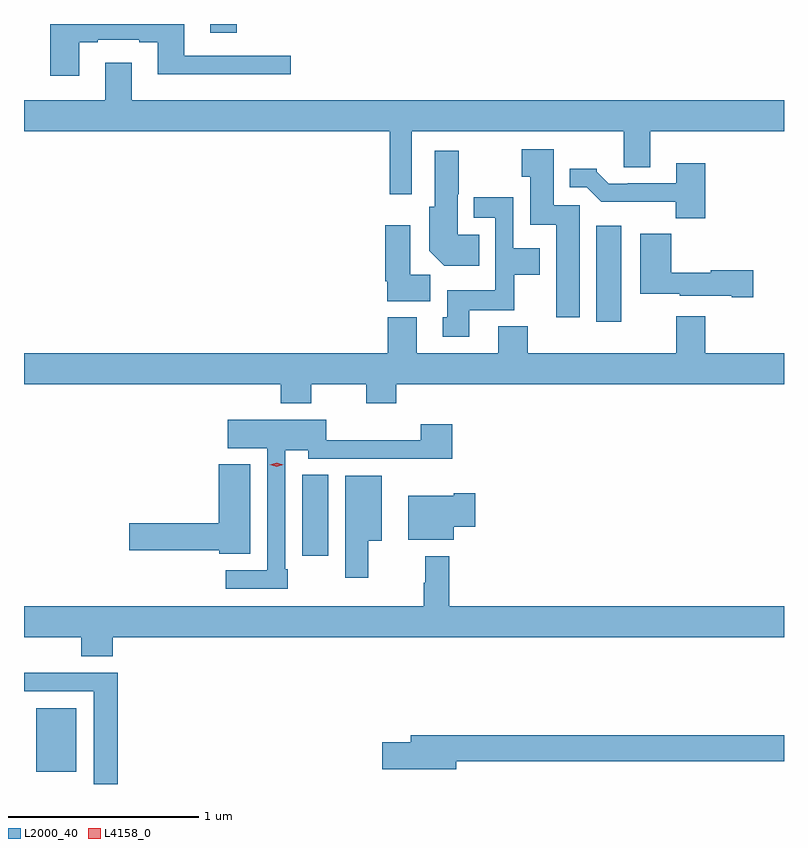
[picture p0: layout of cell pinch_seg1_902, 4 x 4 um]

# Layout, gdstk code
import gdstk
lib = gdstk.Library(unit=1e-6, precision=1e-09)
def R(c, l, rs):  # rectangles x0, y0, x1, y1
    for r in rs: c.add(gdstk.rectangle(r[:2], r[2:], *l))
def P(c, l, *ps):  # polygons
    for p in ps: c.add(gdstk.Polygon(p, *l))
L2000_40 = (2000, 40)
L4158_0 = (4158, 0)

pinch_seg1_902 = lib.new_cell('pinch_seg1_902')
R(pinch_seg1_902, L2000_40, [(268.076,545.696,268.288,546.031), (269.477,546.834,269.614,547.259), (271.025,548.064,271.156,548.569), (268.991,549.585,269.131,549.632)])
P(pinch_seg1_902, L2000_40, [(268.303,549.537),(268.399,549.537),(268.399,549.549),(268.619,549.549),(268.619,549.537),(268.715,549.537),(268.715,549.368),(269.416,549.368),(269.416,549.465),(268.855,549.465),(268.855,549.632),(268.151,549.632),(268.151,549.36),(268.303,549.36)],
  [(270.054,549.068),(271.169,549.068),(271.169,548.878),(271.309,548.878),(271.309,549.068),(272.012,549.068),(272.012,549.232),(268.579,549.232),(268.579,549.427),(268.439,549.427),(268.439,549.232),(268.012,549.232),(268.012,549.068),(269.938,549.068),(269.938,548.736),(270.054,548.736)],
  [(270.937,548.679),(270.799,548.679),(270.799,548.974),(270.631,548.974),(270.631,548.827),(270.677,548.827),(270.677,548.576),(270.812,548.576),(270.812,548.088),(270.937,548.088)],
  [(270.407,548.524),(270.295,548.524),(270.295,548.736),(270.301,548.736),(270.301,548.965),(270.173,548.965),(270.173,548.67),(270.146,548.67),(270.146,548.438),(270.224,548.36),(270.407,548.36)],
  [(271.598,548.899),(271.445,548.899),(271.445,548.793),(271.189,548.793),(271.189,548.79),(271.09,548.79),(271.026,548.854),(271.026,548.869),(270.884,548.869),(270.884,548.772),(270.975,548.772),(271.051,548.696),(271.443,548.696),(271.443,548.609),(271.598,548.609)],
  [(270.355,548.126),(270.591,548.126),(270.591,548.312),(270.727,548.312),(270.727,548.452),(270.588,548.452),(270.588,548.719),(270.38,548.719),(270.38,548.613),(270.492,548.613),(270.492,548.23),(270.239,548.23),(270.239,548.088),(270.215,548.088),(270.215,547.986),(270.355,547.986)],
  [(270.151,548.312),(270.046,548.312),(270.046,548.572),(269.912,548.572),(269.912,548.278),(269.924,548.278),(269.924,548.174),(270.151,548.174)],
  [(271.849,548.336),(271.626,548.336),(271.626,548.323),(271.418,548.323),(271.418,548.527),(271.256,548.527),(271.256,548.213),(271.464,548.213),(271.464,548.201),(271.736,548.201),(271.736,548.194),(271.849,548.194)],
  [(269.523,547.736),(269.812,547.736),(269.812,547.637),(269.972,547.637),(269.972,547.736),(272.012,547.736),(272.012,547.9),(271.598,547.9),(271.598,548.095),(271.445,548.095),(271.445,547.9),(270.662,547.9),(270.662,548.041),(270.509,548.041),(270.509,547.9),(270.079,547.9),(270.079,548.089),(269.927,548.089),(269.927,547.9),(268.012,547.9),(268.012,547.736),(269.363,547.736),(269.363,547.637),(269.523,547.637)],
  [(269.401,546.763),(269.388,546.763),(269.388,547.388),(269.508,547.388),(269.508,547.344),(270.017,547.344),(270.017,547.343),(270.266,547.343),(270.266,547.525),(270.101,547.525),(270.101,547.442),(269.604,547.442),(269.604,547.549),(269.085,547.549),(269.085,547.4),(269.292,547.4),(269.292,546.756),(269.073,546.756),(269.073,546.66),(269.401,546.66)],
  [(269.203,547.315),(269.036,547.315),(269.036,547.004),(268.566,547.004),(268.566,546.862),(269.04,546.862),(269.04,546.845),(269.203,546.845)],
  [(269.824,546.911),(269.896,546.911),(269.896,547.255),(269.702,547.255),(269.702,546.717),(269.824,546.717)],
  [(270.274,546.985),(270.388,546.985),(270.388,547.163),(270.275,547.163),(270.275,547.15),(270.035,547.15),(270.035,546.917),(270.274,546.917)],
  [(272.012,546.568),(270.251,546.568),(270.251,546.832),(270.123,546.832),(270.123,546.692),(270.115,546.692),(270.115,546.568),(268.012,546.568),(268.012,546.404),(268.313,546.404),(268.313,546.305),(268.478,546.305),(268.478,546.404),(272.012,546.404)],
  [(268.505,546.218),(268.012,546.218),(268.012,546.12),(268.379,546.12),(268.379,545.632),(268.505,545.632)],
  [(270.286,545.752),(272.012,545.752),(272.012,545.888),(270.047,545.888),(270.047,545.852),(269.898,545.852),(269.898,545.71),(270.286,545.71)])
P(pinch_seg1_902, L4158_0, [(269.341,547.302),(269.306,547.312),(269.306,547.312),(269.306,547.312),(269.341,547.322),(269.376,547.312),(269.376,547.312),(269.376,547.312)])

lib.write_gds('pinch_seg1_902.gds')
